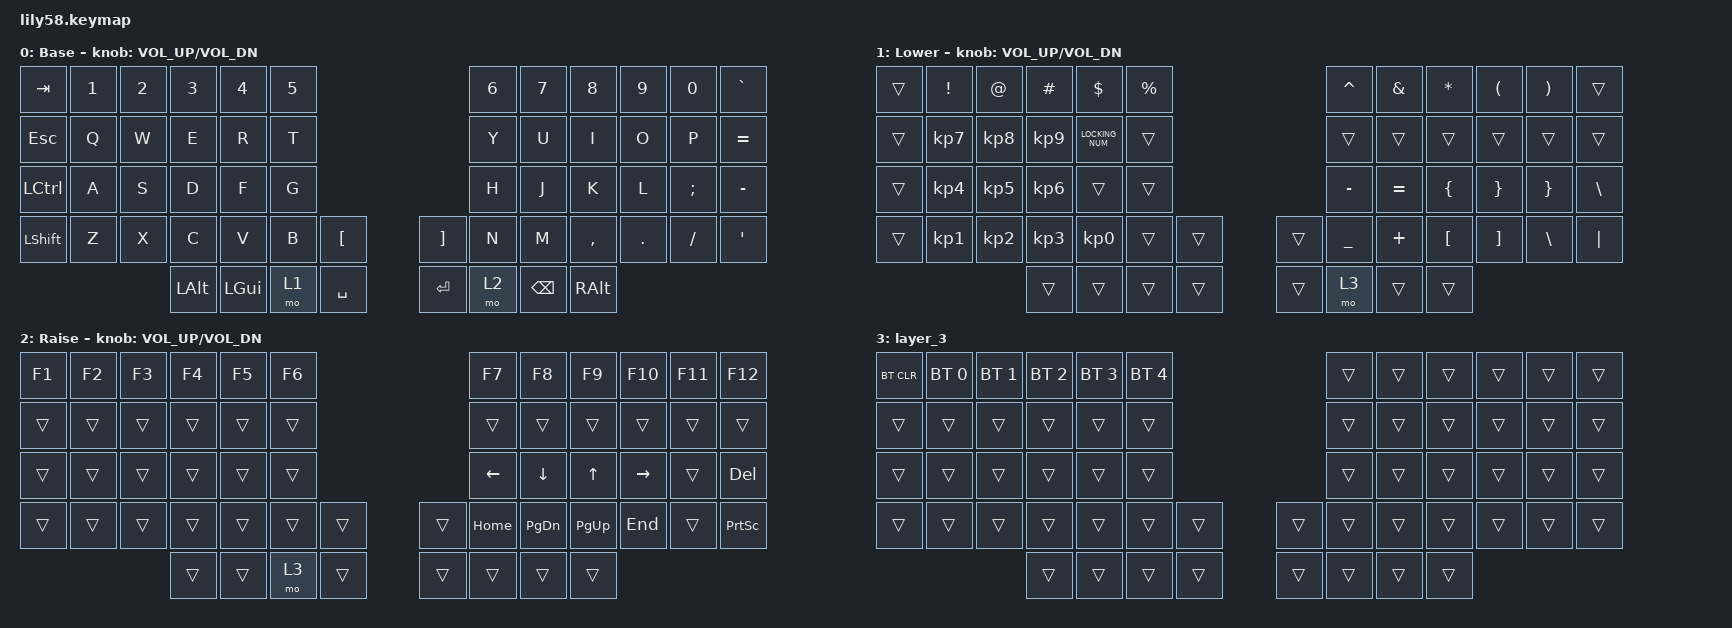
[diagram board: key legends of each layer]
/*
 * Copyright (c) 2020 The ZMK Contributors
 *
 * SPDX-License-Identifier: MIT
 */

#include <behaviors.dtsi>
#include <dt-bindings/zmk/bt.h>
#include <dt-bindings/zmk/keys.h>

/ {
    keymap {
        compatible = "zmk,keymap";

        default_layer {
            // ------------------------------------------------------------------------------------------------------------
            // |  ESC  |  1  |  2  |  3   |  4   |  5   |                   |  6   |  7    |  8    |  9   |   0   |   `   |
            // |  TAB  |  Q  |  W  |  E   |  R   |  T   |                   |  Y   |  U    |  I    |  O   |   P   |   -   |
            // |  CTRL |  A  |  S  |  D   |  F   |  G   |                   |  H   |  J    |  K    |  L   |   ;   |   '   |
            // | SHIFT |  Z  |  X  |  C   |  V   |  B   |   "["  |  |  "]"  |  N   |  M    |  ,    |  .   |   /   | SHIFT |
            //                     | ALT  | GUI  | LOWER|  SPACE |  | ENTER | RAISE| BSPC  | GUI   |

            display-name = "Base";
            bindings = <
&kp TAB     &kp N1  &kp N2  &kp N3    &kp N4    &kp N5                                         &kp N6  &kp N7         &kp N8         &kp N9   &kp N0    &kp GRAVE
&kp ESCAPE  &kp Q   &kp W   &kp E     &kp R     &kp T                                          &kp Y   &kp U          &kp I          &kp O    &kp P     &kp EQUAL
&kp LCTRL   &kp A   &kp S   &kp D     &kp F     &kp G                                          &kp H   &kp J          &kp K          &kp L    &kp SEMI  &kp MINUS
&kp LSHFT   &kp Z   &kp X   &kp C     &kp V     &kp B   &kp LEFT_BRACKET    &kp RIGHT_BRACKET  &kp N   &kp M          &kp COMMA      &kp DOT  &kp FSLH  &kp SQT
                            &kp LALT  &kp LGUI  &mo 1   &kp SPACE           &kp RET            &mo 2   &kp BACKSPACE  &kp RIGHT_ALT
            >;

            sensor-bindings = <&inc_dec_kp C_VOL_UP C_VOL_DN>;
        };

        lower_layer {
            // ------------------------------------------------------------------------------------------------------------
            // | BTCLR | BT1 | BT2 |  BT3 |  BT4 |  BT5 |                   |      |       |       |      |       |       |
            // |  F1   |  F2 |  F3 |  F4  |  F5  |  F6  |                   |  F7  |  F8   |  F9   |  F10 |  F11  |  F12  |
            // |   `   |  !  |  @  |  #   |  $   |  %   |                   |  ^   |  &    |  *    |  (   |   )   |   ~   |
            // |       |     |     |      |      |      |        |  |       |      |  _    |  +    |  {   |   }   |  "|"  |
            //                     |      |      |      |        |  |       |      |       |       |

            display-name = "Lower";
            bindings = <
&trans  &kp EXCLAMATION  &kp AT_SIGN      &kp HASH         &kp DOLLAR       &kp PERCENT                    &kp CARET       &kp AMPERSAND  &kp ASTERISK      &kp LEFT_PARENTHESIS  &kp RIGHT_PARENTHESIS  &trans
&trans  &kp KP_N7        &kp KP_N8        &kp KP_N9        &kp LOCKING_NUM  &trans                         &trans          &trans         &trans            &trans                &trans                 &trans
&trans  &kp KP_N4        &kp KP_N5        &kp KP_NUMBER_6  &trans           &trans                         &kp MINUS       &kp EQUAL      &kp LEFT_BRACE    &kp RIGHT_BRACE       &kp RIGHT_BRACE        &kp BACKSLASH
&trans  &kp KP_NUMBER_1  &kp KP_NUMBER_2  &kp KP_N3        &kp KP_N0        &trans       &trans    &trans  &kp UNDERSCORE  &kp PLUS       &kp LEFT_BRACKET  &kp RIGHT_BRACKET     &kp BACKSLASH          &kp PIPE
                                          &trans           &trans           &trans       &trans    &trans  &mo 3           &trans         &trans
            >;

            sensor-bindings = <&inc_dec_kp C_VOL_UP C_VOL_DN>;
        };

        raise_layer {
            // ------------------------------------------------------------------------------------------------------------
            // |       |     |     |      |      |      |                   |      |       |       |      |       |       |
            // |   `   |  1  |  2  |  3   |  4   |  5   |                   |  6   |   7   |   8   |  9   |   0   |       |
            // |   F1  |  F2 |  F3 |  F4  |  F5  |  F6  |                   |      |   <-  |   v   |  ^   |  ->   |       |
            // |   F7  |  F8 |  F9 |  F10 |  F11 |  F12 |        |  |       |  +   |   -   |   =   |  [   |   ]   |   \   |
            //                     |      |      |      |        |  |       |      |       |       |

            display-name = "Raise";
            bindings = <
&kp F1  &kp F2  &kp F3  &kp F4  &kp F5  &kp F6                    &kp F7    &kp F8         &kp F9        &kp F10    &kp F11  &kp F12
&trans  &trans  &trans  &trans  &trans  &trans                    &trans    &trans         &trans        &trans     &trans   &trans
&trans  &trans  &trans  &trans  &trans  &trans                    &kp LEFT  &kp DOWN       &kp UP_ARROW  &kp RIGHT  &trans   &kp DELETE
&trans  &trans  &trans  &trans  &trans  &trans  &trans    &trans  &kp HOME  &kp PAGE_DOWN  &kp PAGE_UP   &kp END    &trans   &kp PRINTSCREEN
                        &trans  &trans  &mo 3   &trans    &trans  &trans    &trans         &trans
            >;

            sensor-bindings = <&inc_dec_kp C_VOL_UP C_VOL_DN>;
        };

        layer_3 {
            bindings = <
&bt BT_CLR  &bt BT_SEL 0  &bt BT_SEL 1  &bt BT_SEL 2  &bt BT_SEL 3  &bt BT_SEL 4                    &trans  &trans  &trans  &trans  &trans  &trans
&trans      &trans        &trans        &trans        &trans        &trans                          &trans  &trans  &trans  &trans  &trans  &trans
&trans      &trans        &trans        &trans        &trans        &trans                          &trans  &trans  &trans  &trans  &trans  &trans
&trans      &trans        &trans        &trans        &trans        &trans        &trans    &trans  &trans  &trans  &trans  &trans  &trans  &trans
                                        &trans        &trans        &trans        &trans    &trans  &trans  &trans  &trans
            >;
        };
    };
};
